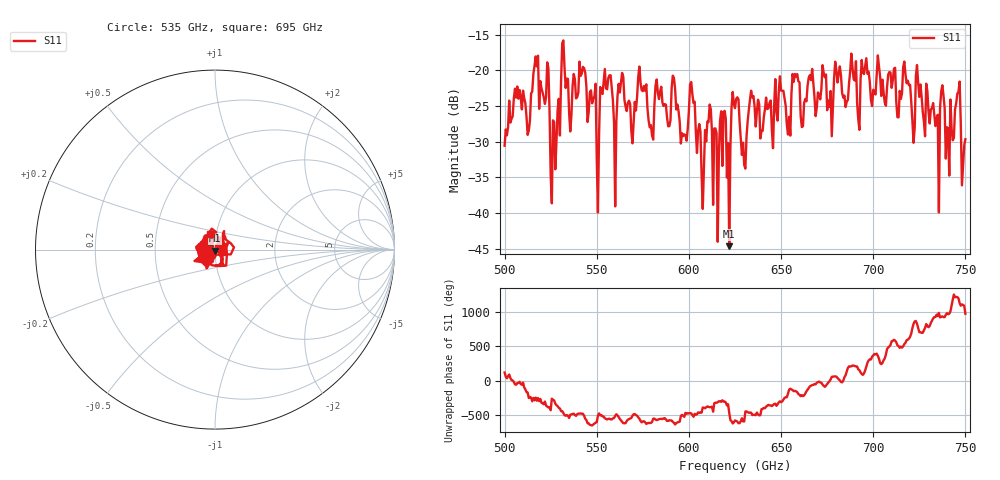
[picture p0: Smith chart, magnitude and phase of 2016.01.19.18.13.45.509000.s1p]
!Created with skrf (http://scikit-rf.org).
# GHz S RI R 50.0
!freq ReS11 ImS11
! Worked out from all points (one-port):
!   401 points, 500 GHz to 750 GHz, reference 50 ohm
!   lowest |S11| = -44.7 dB at 621.9 GHz (marker M1), VSWR 1.01, Z = 49.9 - j0.567 ohm
!   |S11| at or under -10 dB: start of sweep to end of sweep
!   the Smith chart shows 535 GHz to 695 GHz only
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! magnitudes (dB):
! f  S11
! 500 GHz  -30.6
! 506.9 GHz  -22.3
! 513.1 GHz  -28.4
! 516.9 GHz  -18.1
! 523.1 GHz  -18.9
! 526.2 GHz  -27.0
! 531.2 GHz  -16.2
! 541.9 GHz  -20.5
! 550 GHz  -32.5
! 553.1 GHz  -23.3
! 560 GHz  -39.1
! 562.5 GHz  -23.1
! 593.8 GHz  -24.8
! 598.1 GHz  -29.1
! 601.9 GHz  -23.4
! 608.1 GHz  -33.7
! 610.6 GHz  -27.3
! 618.8 GHz  -25.9
! 621.9 GHz  -44.7
! 625 GHz  -25.3
! 629.4 GHz  -30.1
! 633.8 GHz  -22.9
! 656.2 GHz  -20.5
! 687.5 GHz  -20.1
! 718.8 GHz  -21.5
! 734.4 GHz  -26.7
! 745.6 GHz  -23.3
! 750 GHz  -29.7
